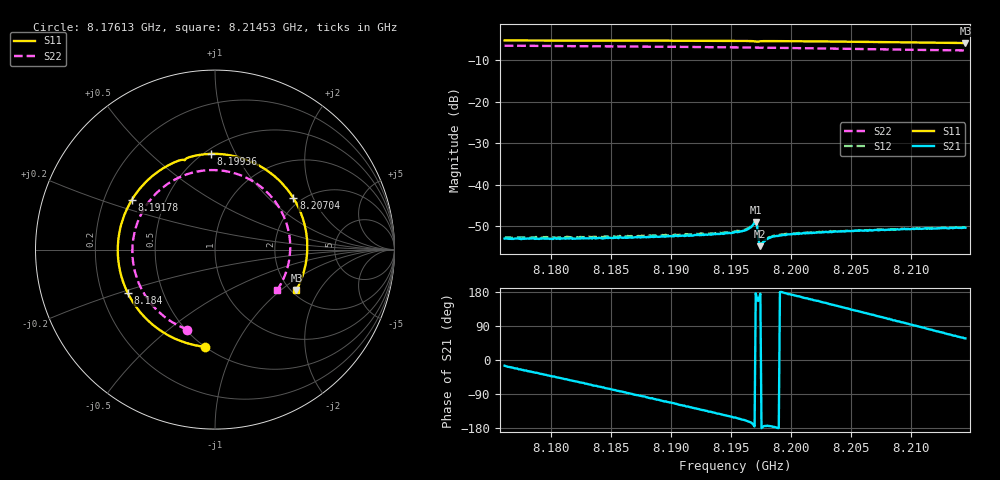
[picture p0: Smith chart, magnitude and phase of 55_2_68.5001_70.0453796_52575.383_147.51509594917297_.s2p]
#  HZ  S  RI  R  50.00
! Rohde & Schwarz Vector Network Analyzer
! Rohde-Schwarz,ZNB20-2Port,1311601062101988,3.16
! Created: UTC 3/20/2024, 5:06:09 PM
! freq[Hz]  re:S11  im:S11  re:S21  im:S21  re:S12  im:S12  re:S22  im:S22
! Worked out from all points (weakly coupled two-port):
!   401 points, 8.17613 GHz to 8.21453 GHz, reference 50 ohm
!   highest |S21| = -48.95 dB at 8.19706 GHz (marker M1); lowest = -54.8 dB at 8.19744 GHz (marker M2)
!   lowest |S11| = -5.9 dB at 8.21453 GHz (marker M3), VSWR 3.05, Z = 107 - j64.4 ohm
!   |S11| at or under -10 dB: nowhere
!   |S22| runs from -7.7 to -6.5 dB; largest |S21 - S12| = 0.0002
!   S11 on the Smith chart (normalised r, x): 8.17613 GHz: 0.50, -0.77; 8.184 GHz: 0.31, -0.21; 8.19178 GHz: 0.32, +0.25; 8.19936 GHz: 0.54, +0.80; 8.20704 GHz: 1.82, +1.44; 8.21453 GHz: 2.13, -1.29
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8.176133e9  -0.058 -0.5412  0.00218 -0.000586  0.00225 -0.000628  -0.1533 -0.4459
8.179205e9  -0.2588 -0.4785  0.0018 -0.00134  0.00184 -0.0014  -0.3017 -0.3575
8.182564e9  -0.4334 -0.3275  0.00116 -0.00199  0.00114 -0.00205  -0.4149 -0.2087
8.184004e9  -0.4857 -0.2426  0.000779 -0.00218  0.000774 -0.00222  -0.4432 -0.1336
8.1865e9  -0.5366 -0.0771  9.13e-05 -0.00232  3.77e-05 -0.00239  -0.4604 0.0036
8.188996e9  -0.5325 0.0967  -0.000628 -0.00228  -0.00072 -0.00231  -0.4359 0.1397
8.19178e9  -0.463 0.2777  -0.00144 -0.00197  -0.00156 -0.00202  -0.3618 0.2751
8.195331e9  -0.2883 0.4537  -0.00238 -0.00129  -0.00247 -0.0012  -0.2084 0.3984
8.196291e9  -0.2278 0.4857  -0.0027 -0.000959  -0.0028 -0.000852  -0.1586 0.4191
8.196963e9  -0.1798 0.5005  -0.00344 -0.000276  -0.00359 -0.00015  -0.1221 0.4298
8.197059e9  -0.1728 0.4997  -0.00356 0.000235  -0.00361 0.000391  -0.1168 0.431
8.197443e9  -0.1579 0.5087  -0.00182 0.00016  -0.00185 0.00026  -0.0958 0.4355
8.197539e9  -0.151 0.5119  -0.0019 -1.28e-06  -0.00196 3.59e-05  -0.0906 0.4366
8.198019e9  -0.1165 0.5221  -0.00222 -0.000258  -0.00225 -0.000154  -0.0637 0.4406
8.198403e9  -0.0894 0.5272  -0.00237 -0.000203  -0.00238 -6.94e-05  -0.0417 0.4424
8.199363e9  -0.0213 0.5333  -0.00249 0.000102  -0.00251 0.000233  0.0126 0.4424
8.201763e9  0.1461 0.5105  -0.00246 0.000913  -0.00246 0.00106  0.1457 0.413
8.204258e9  0.3032 0.4314  -0.00209 0.0018  -0.00203 0.00185  0.2688 0.3392
8.207042e9  0.4367 0.2871  -0.00131 0.00254  -0.00125 0.0026  0.3702 0.2122
8.208194e9  0.4742 0.2143  -0.000923 0.00271  -0.000829 0.00275  0.3971 0.1492
8.211362e9  0.5136 -0.00674  0.000405 0.00297  0.000449 0.00293  0.4158 -0.04
8.214529e9  0.454 -0.2245  0.00165 0.00255  0.00173 0.00257  0.3477 -0.2227
